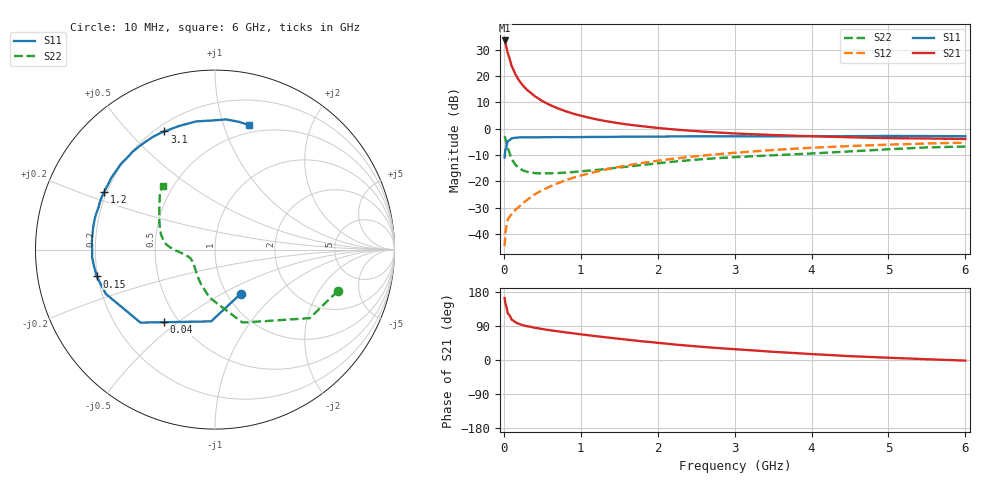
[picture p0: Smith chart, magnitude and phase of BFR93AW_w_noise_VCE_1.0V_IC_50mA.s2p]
! Infineon Technologies  Discrete & RF Semiconductors
! BFR93AW
! VCE =  1.0 V,  IC =  50 mA
! Common Emitter S-Parameters:  Jan 2017
# GHz  S  MA  R  50
!  f  S11  S21  S12  S22
! GHz  MAG  ANG  MAG  ANG  MAG  ANG  MAG  ANG
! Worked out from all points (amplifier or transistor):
!   77 points, 10 MHz to 6 GHz, reference 50 ohm
!   highest |S21| = 33.5 dB at 10 MHz (marker M1)
!   |S21| within 3 dB of that: start of sweep to 36.66 MHz
!   unconditionally stable (mu >= 1): 166.8 MHz to end of sweep
!   at 130 MHz: K = 0.88, MSG = 26.7 dB, |S12| = -31.4 dB
!   at 2.2 GHz: K = 1.16, MAG = 3.1 dB, |S12| = -11.4 dB
!   at 6 GHz: K = 1.04, MAG = -0.6 dB, |S12| = -5.3 dB
!   lowest NFmin = 2.30 dB at 450 MHz
!   S11 on the Smith chart (normalised r, x): 10 MHz: 1.16, -0.62; 40 MHz: 0.42, -0.45; 150 MHz: 0.20, -0.11; 1.2 GHz: 0.19, +0.24; 3.1 GHz: 0.23, +0.63; 6 GHz: 0.43, +1.22
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0.01  0.2845 -59.5  47.18 163.5  0.0059 65.5  0.7215 -18.7
0.02  0.4004 -93.1  42.87 149.5  0.0106 61.8  0.6514 -35.9
0.04  0.4944 -125.1  31.73 134.8  0.016 50.5  0.4859 -55.1
0.05  0.5815 -135.6  27.4 123.4  0.0188 47.3  0.4345 -69.3
0.1  0.6563 -157.9  15.61 106.7  0.0238 49.1  0.2695 -96.4
0.15  0.6756 -167.2  10.73 99.5  0.0288 51.2  0.2067 -112.4
0.2  0.6807 -172.4  8.126 95.0  0.0333 57.0  0.1774 -123.3
0.25  0.6857 -176.3  6.545 91.6  0.039 59.8  0.1612 -131.0
0.3  0.6841 -179.3  5.468 89.3  0.0441 62.5  0.1519 -137.5
0.4  0.6874 176.3  4.147 85.1  0.0564 65.1  0.1439 -146.0
0.5  0.6883 172.3  3.343 81.7  0.0681 67.3  0.1413 -151.8
0.6  0.6901 169.1  2.814 78.6  0.08 68.0  0.1426 -156.2
0.7  0.6916 166.1  2.437 75.9  0.0919 68.8  0.1435 -159.1
0.9  0.6902 160.3  1.93 70.4  0.1168 68.0  0.1503 -163.7
1.1  0.6957 155.1  1.627 65.3  0.1411 66.7  0.1598 -167.4
1.2  0.6958 152.6  1.51 62.8  0.1526 65.9  0.1644 -169.2
1.6  0.7033 143.4  1.205 53.7  0.2005 62.2  0.1899 -174.4
2.1  0.7097 132.3  1.001 43.4  0.2576 56.4  0.2285 180.0
3.1  0.7159 113.2  0.801 27.2  0.3578 44.3  0.293 169.5
4.1  0.7205 96.9  0.712 14.5  0.4413 32.2  0.3445 153.9
5.1  0.7267 84.0  0.659 5.2  0.5029 20.6  0.4135 138.3
6  0.7185 74.6  0.639 -1.6  0.5434 11.2  0.459 129.5
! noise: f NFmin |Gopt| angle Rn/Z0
0.45  2.3  0.26  -178  0.17
0.9  2.59  0.31  -167  0.18
1.9  3.72  0.53  -132  0.42
2.4  4.45  0.58  -122  0.79
